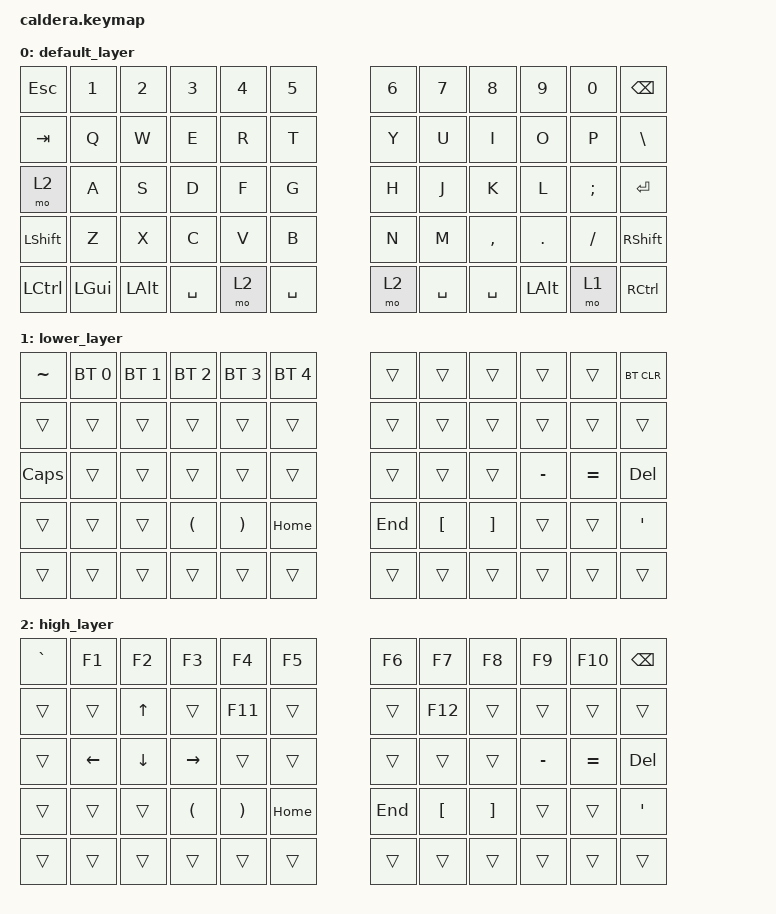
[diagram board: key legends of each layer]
#include <behaviors.dtsi>
#include <dt-bindings/zmk/keys.h>
#include <dt-bindings/zmk/bt.h>

/ {
        keymap {
                compatible = "zmk,keymap";

                default_layer {
// ---------------------------------------------------------------------------------
// |  ESC |  1  |  2  |  3  |  4  |  5  |     |  6  |  7  |  8  |  9  |  0  | BKSP |
// |  TAB |  Q  |  W  |  E  |  R  |  T  |     |  Y  |  U  |  I  |  O  |  P  |  \   |
// | HIGH |  A  |  S  |  D  |  F  |  G  |     |  H  |  J  |  K  |  L  |  ;  |  ENT |
// | SHFT |  Z  |  X  |  C  |  V  |  B  |     |  N  |  M  |  ,  |  .  |  /  | RSHFT|
// | CTRL | GUI | ALT | SPC | HIGH| SPC |     | HIGH| SPC | SPC | ALT | LOW | CTRL |
                        bindings = <
   &kp ESC    &kp N1    &kp N2    &kp N3     &kp N4     &kp N5               &kp N6     &kp N7     &kp N8     &kp N9    &kp N0    &kp BSPC
   &kp TAB    &kp Q     &kp W     &kp E      &kp R      &kp T                &kp Y      &kp U      &kp I      &kp O     &kp P     &kp BSLH
   &mo 2      &kp A     &kp S     &kp D      &kp F      &kp G                &kp H      &kp J      &kp K      &kp L     &kp SEMI  &kp RET
   &kp LSHFT  &kp Z     &kp X     &kp C      &kp V      &kp B                &kp N      &kp M      &kp COMMA  &kp DOT   &kp FSLH  &kp RSHFT
   &kp LCTRL  &kp LGUI  &kp LALT  &kp SPACE  &mo 2      &kp SPACE            &mo 2      &kp SPACE  &kp SPACE  &kp LALT  &mo 1     &kp RCTRL
                        >;
                };
                lower_layer {
// ------------------------------------------------------------------------------------------------------------
// | TILDE |  BT1  |  BT2  |  BT3  |  BT4  |  BT5  |          |       |       |       |       |       | BTCLR |
// |       |       |       |       |       |       |          |       |       |       |       |       |       |
// | CAPS  |       |       |       |       |       |          |       |       |       |   -   |   =   |  DEL  |
// |       |       |       | LPAR  | RPAR  | HOME  |          |  END  | LBKT  | RBKT  |       |       | APOS  |
                        bindings = <
   &kp TILDE &bt BT_SEL 0   &bt BT_SEL 1   &bt BT_SEL 2   &bt BT_SEL 3   &bt BT_SEL 4           &trans    &trans    &trans      &trans     &trans     &bt BT_CLR
   &trans    &trans         &trans         &trans         &trans         &trans                 &trans    &trans    &trans      &trans     &trans     &trans
   &kp CAPS  &trans         &trans         &trans         &trans         &trans                 &trans    &trans    &trans      &kp MINUS  &kp EQUAL  &kp DEL
   &trans    &trans         &trans         &kp LPAR       &kp RPAR       &kp HOME               &kp END   &kp LBKT  &kp RBKT    &trans     &trans     &kp APOS
   &trans    &trans         &trans         &trans         &trans         &trans                 &trans    &trans    &trans      &trans     &trans     &trans
                        >;
                };
                high_layer {
// ------------------------------------------------------------------------------------------------------------
// | GRAVE |  F1   |  F2   |  F3   |  F4   |  F5   |          |  F6   |  F7   |  F8   |  F9   | F10   | BKSP  |
// |       |       |  UP   |       |  F11  |       |          |       |  F12  |       |       |       |       |
// |       | LEFT  | DOWN  | RIGHT |       |       |          |       |       |       |   -   |   =   |  DEL  |
// |       |       |       | LPAR  | RPAR  | HOME  |          |  END  | LBKT  | RBKT  |       |       | APOS  |
                        bindings = <
   &kp GRAVE &kp F1    &kp F2    &kp F3     &kp F4     &kp F5               &kp F6    &kp F7    &kp F8     &kp F9     &kp F10    &kp BSPC
   &trans    &trans    &kp UP    &trans     &kp F11    &trans               &trans     &kp F12    &trans     &trans     &trans     &trans
   &trans    &kp LEFT  &kp DOWN  &kp RIGHT  &trans     &trans               &trans     &trans    &trans     &kp MINUS  &kp EQUAL  &kp DEL
   &trans    &trans    &trans    &kp LPAR   &kp RPAR   &kp HOME             &kp END    &kp LBKT  &kp RBKT   &trans     &trans     &kp APOS   &trans     &trans    &trans    &trans     &trans     &trans               &trans     &trans    &trans     &trans     &trans     &trans                        >;
                };
        };
};
